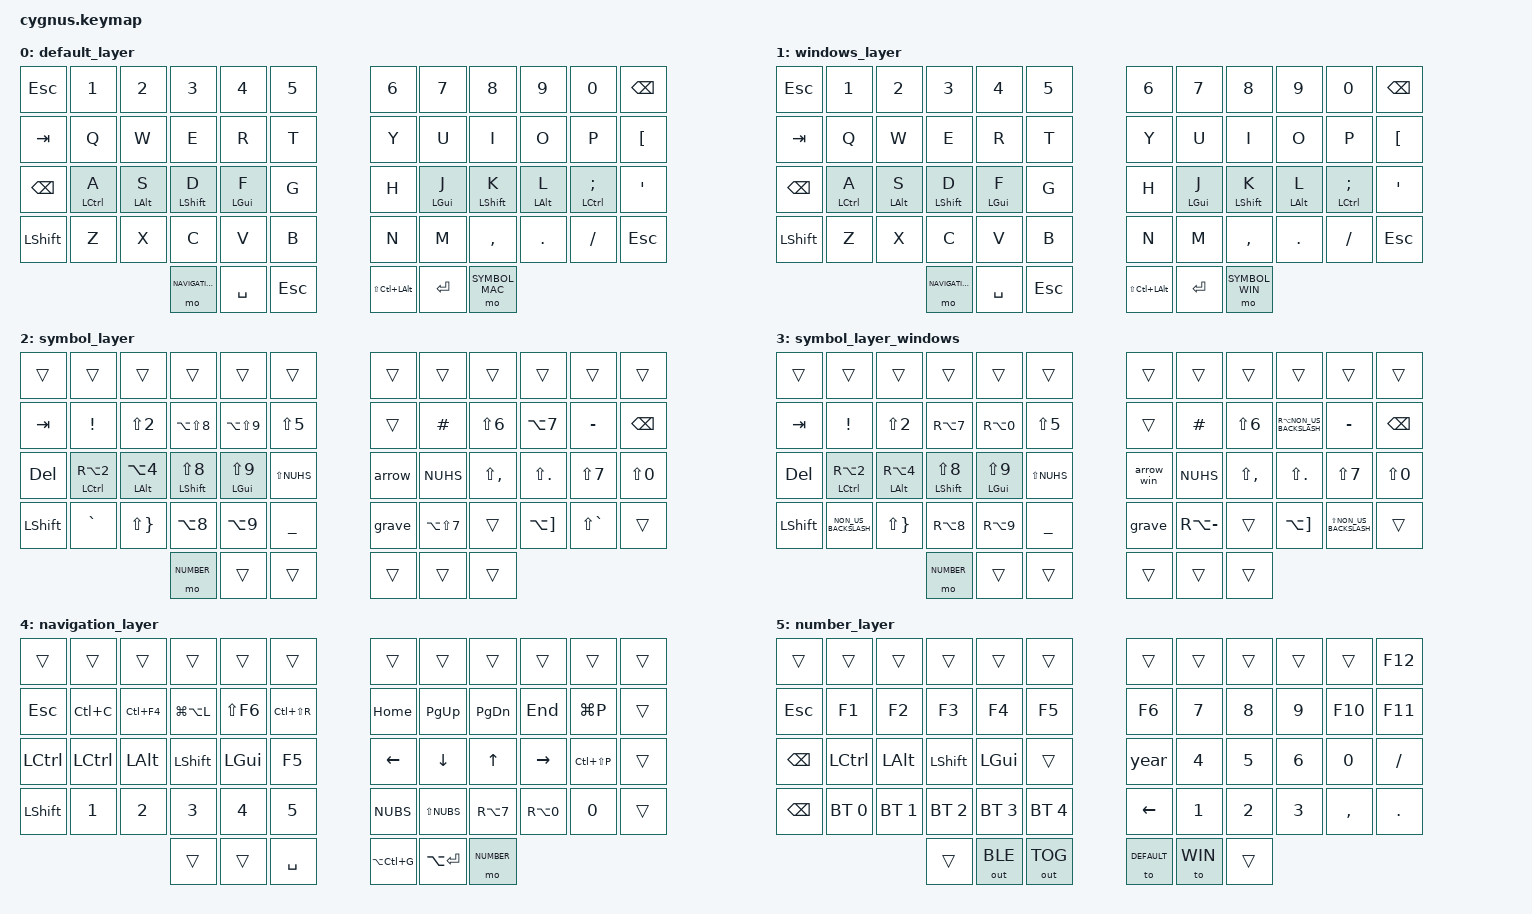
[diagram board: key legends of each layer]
#include <behaviors.dtsi>
#include <dt-bindings/zmk/keys.h>
#include <dt-bindings/zmk/bt.h>
#include <dt-bindings/zmk/outputs.h>

// Meh key
#define MEH LS(LC(LALT))
#define DEFAULT 0
#define WIN 1
#define SYMBOL_MAC 2
#define SYMBOL_WIN 3
#define NAVIGATION 4
#define NUMBER 5

/ {
        macros {
                arrow: arrow {
                compatible = "zmk,behavior-macro";
                #binding-cells = <0>;
                bindings
                        = <&macro_press &kp LSHFT>
                        , <&macro_tap &kp N0 &kp GRAVE>
                        , <&macro_release &kp LSHFT>
                        ;
                };
                arrow_win: arrow_win {
                compatible = "zmk,behavior-macro";
                #binding-cells = <0>;
                bindings
                        = <&macro_press &kp LSHFT>
                        , <&macro_tap &kp N0 &kp NON_US_BACKSLASH>
                        , <&macro_release &kp LSHFT>
                        ;
                };
                grave: grave {
                compatible = "zmk,behavior-macro";
                #binding-cells = <0>;
                bindings
                        = <&macro_tap &kp LS(EQUAL) &kp SPACE>
                        ;
                };

                year: year {
                compatible = "zmk,behavior-macro";
                #binding-cells = <0>;
                bindings
                        = <&macro_tap &kp N2 &kp N0 &kp N2 &kp N4>
                        ;
                };
        };
        behaviors {
                hm: homerow_mods {
                compatible = "zmk,behavior-hold-tap";
                #binding-cells = <2>;
                tapping-term-ms = <225>;
                quick-tap-ms = <0>;
                flavor = "tap-preferred";
                bindings = <&kp>, <&kp>;
                };
        };
        keymap {
                compatible = "zmk,keymap";

                default_layer {
// -----------------------------------------------------------------------------------------
// | ESC  |  1  |  2  |  3  |  4  |  5  |   |  6  |  7   |  8  |  9  |  0  | BSPC |
// |  TAB |  Q  |  W  |  E  |  R  |  T  |   |  Y  |  U   |  I  |  O  |  P  |  Å   |
// | BSPC |  A  |  S  |  D  |  F  |  G  |   |  H  |  J   |  K  |  L  |  Ö  |  Ä   |
// | SHFT |  Z  |  X  |  C  |  V  |  B  |   |  N  |  M   |  ,  |  .  |  -  | ESC  |
//                    | NAV | SPC | ESC |   | MEH | RET  | SYM  |
                        bindings = <
   &kp ESC    &kp N1 &kp N2 &kp N3 &kp N4 &kp N5   &kp N6 &kp N7 &kp N8    &kp N9  &kp N0   &kp BSPC
   &kp TAB    &kp Q &kp W &kp E &kp R &kp T   &kp Y &kp U  &kp I     &kp O   &kp P    &kp LBKT
   &kp BSPC   &hm LCTRL A &hm LALT S &hm LSHFT D &hm LGUI F &kp G   &kp H &hm LGUI J  &hm LSHFT K  &hm LALT L   &hm LCTRL SEMI &kp SQT
   &kp LSHFT  &kp Z &kp X &kp C &kp V &kp B   &kp N &kp M  &kp COMMA &kp DOT &kp FSLH &kp ESC
                    &mo NAVIGATION &kp SPACE &kp ESC   &kp MEH &kp RET &mo SYMBOL_MAC
                        >;
                };
                windows_layer {
// -----------------------------------------------------------------------------------------
// | ESC  |  1  |  2  |  3  |  4  |  5  |   |  6  |  7   |  8  |  9  |  0  | BSPC |
// |  TAB |  Q  |  W  |  E  |  R  |  T  |   |  Y  |  U   |  I  |  O  |  P  |  Å   |
// | BSPC |  A  |  S  |  D  |  F  |  G  |   |  H  |  J   |  K  |  L  |  Ö  |  Ä   |
// | SHFT |  Z  |  X  |  C  |  V  |  B  |   |  N  |  M   |  ,  |  .  |  -  | ESC  |
//                    | NAV | SPC | ESC |   | MEH | RET  | SYM  |
                        bindings = <
   &kp ESC    &kp N1 &kp N2 &kp N3 &kp N4 &kp N5   &kp N6 &kp N7 &kp N8    &kp N9  &kp N0   &kp BSPC
   &kp TAB    &kp Q &kp W &kp E &kp R &kp T   &kp Y &kp U  &kp I     &kp O   &kp P    &kp LBKT
   &kp BSPC   &hm LCTRL A &hm LALT S &hm LSHFT D &hm LGUI F &kp G   &kp H &hm LGUI J  &hm LSHFT K  &hm LALT L   &hm LCTRL SEMI &kp SQT
   &kp LSHFT  &kp Z &kp X &kp C &kp V &kp B   &kp N &kp M  &kp COMMA &kp DOT &kp FSLH &kp ESC
                    &mo NAVIGATION &kp SPACE &kp ESC   &kp MEH &kp RET &mo SYMBOL_WIN
                        >;
                };
                symbol_layer {
// -----------------------------------------------------------------------------------------
// |      |     |     |     |     |     |   |     |     |     |     |     |      |
// |  TAB |  !  |  "  |  {  |  }  |  %  |   |     |  #  |  &  |  |  |  +  | BSPC |
// | DEL  |  @  |  $  |  (  |  )  |  *  |   |  => |  '  |  ;  |  :  |  /  |      |
// | SHFT |  <  |  ^  |  [  |  ]  |  ?  |   |  `  |  \  |     |  ~  |  >  |      |
//                    | NUM |     |     |   |     |     |      |
                        bindings = <
   &trans     &trans           &trans           &trans               &trans            &trans             &trans   &trans         &trans     &trans       &trans    &trans
   &kp TAB    &kp EXCL         &kp LS(N2)       &kp LA(LS(N8))       &kp LA(LS(N9))    &kp LS(N5)         &trans   &kp HASH       &kp LS(N6) &kp LA(N7)    &kp MINUS &kp BSPC
   &kp DEL    &hm LCTRL RA(N2) &hm LALT LA(N4)  &hm LSHIFT LS(N8)    &hm LGUI LS(N9)   &kp LS(NUHS)       &arrow   &kp NUHS       &kp LS(COMMA) &kp LS(DOT) &kp LS(N7) &kp LS(N0)
   &kp LSHFT  &kp GRAVE        &kp LS(RBRC)     &kp LA(N8)           &kp LA(N9)        &kp UNDERSCORE     &grave   &kp LA(LS(N7)) &trans  &kp LA(RBKT) &kp LS(GRAVE)     &trans
                                                &mo NUMBER                &trans            &trans             &trans   &trans   &trans
                        >;
                };
                symbol_layer_windows {
// -----------------------------------------------------------------------------------------
// |      |     |     |     |     |     |   |     |     |     |     |     |      |
// |  TAB |  !  |  "  |  {  |  }  |  %  |   |     |  #  |  &  |  |  |  +  | BSPC |
// | DEL  |  @  |  $  |  (  |  )  |  *  |   |  => |  '  |  ;  |  :  |  /  |      |
// | SHFT |  <  |  ^  |  [  |  ]  |  ?  |   |  `  |  \  |     |  ~  |  >  |      |
//                    | NUM |     |     |   |     |     |      |
                        bindings = <
   &trans     &trans                    &trans           &trans               &trans            &trans             &trans       &trans         &trans         &trans                       &trans    &trans
   &kp TAB    &kp EXCL                  &kp LS(N2)       &kp RA(N7)       &kp RA(N0)    &kp LS(N5)         &trans   &kp HASH       &kp LS(N6) &kp RA(NON_US_BACKSLASH)    &kp MINUS &kp BSPC
   &kp DEL    &hm LCTRL RA(N2)          &hm LALT RA(N4)  &hm LSHIFT LS(N8)    &hm LGUI LS(N9)   &kp LS(NUHS)       &arrow_win   &kp NUHS       &kp LS(COMMA) &kp LS(DOT) &kp LS(N7) &kp LS(N0)
   &kp LSHFT  &kp NON_US_BACKSLASH      &kp LS(RBRC)     &kp RA(N8)           &kp RA(N9)        &kp UNDERSCORE     &grave   &kp RA(MINUS) &trans  &kp LA(RBKT) &kp LS(NON_US_BACKSLASH)     &trans
                                                &mo NUMBER                &trans            &trans             &trans   &trans   &trans
                        >;
                };
                navigation_layer {
// -----------------------------------------------------------------------------------------
// |      |     |      |           |        |            |   |      |        |       |       |          |      |
// | ESC  | C-c | C-F4 | Cmd+Alt+L | S-F6   | C-S-R      |   | HOME | PG_UP  | PG_DN | END   | Cmd+P    |      |
// | CTRL | CTRL| LALT | LSHIFT    | LGUI   | F5         |   | LEFT | DOWN   | UP    | RIGHT | C-S-P    |      |
// | SHFT |  1  |  2   |  3        |  4     |  5         |   | NUBS | S-NUBS | RA(7) | RA(0) |  0       |      |
//                     |           |        | SPC        |   | A-C-G| A-RET  | NUM   |
                        bindings = <
   &trans     &trans     &trans     &trans         &trans     &trans              &trans   &trans       &trans    &trans    &trans        &trans
   &kp  ESC   &kp LC(C)  &kp LC(F4) &kp LG(LA(L)) &kp LS(F6) &kp LC(LS(R))   &kp HOME &kp PG_UP &kp PG_DN &kp END &kp LG(P) &trans
   &kp LCTRL  &kp LCTRL  &kp LALT   &kp LSHIFT   &kp LGUI   &kp F5               &kp LEFT  &kp DOWN  &kp UP &kp RIGHT &kp LC(LS(P)) &trans
   &kp LSHFT  &kp N1      &kp N2      &kp N3     &kp N4     &kp N5               &kp NUBS    &kp LS(NUBS)    &kp RA(N7) &kp RA(N0)    &kp N0      &trans
                              &trans &trans    &kp SPACE                       &kp LA(LC(G))   &kp LA(RET)    &mo NUMBER
                        >;
                };

                number_layer {
// -----------------------------------------------------------------------------------------
// | ESC  | F1  | F2  | F3  | F4  | F5  |   | F6   | F7 | F8 | F9 | F10   | F12 |
// |      |     |     |     |     |     |   |      |  7 |  8 |  9 | F11   |     |
// | BSPC | CTRL| LALT| LSFT| LGUI|     |   | year |  4 |  5 |  6 |  0    |  /  |
// | BSPC | BT0 | BT1 | BT2 | BT3 | BT4 |   | LEFT |  1 |  2 |  3 |  ,    |  .  |
//                    |     | BLE | TOG |   | DEF  | WIN |     |
                        bindings = <
   &trans     &trans       &trans       &trans       &trans       &trans             &trans   &trans   &trans &trans    &trans   &kp F12
   &kp ESC    &kp F1       &kp F2       &kp F3       &kp F4       &kp F5         &kp F6   &kp N7   &kp N8 &kp N9    &kp F10 &kp F11
   &kp BSPC   &kp LCTRL    &kp LALT     &kp LSHIFT   &kp LGUI     &trans         &year    &kp N4   &kp N5 &kp N6    &kp N0  &kp FSLH
   &kp BSPC   &bt BT_SEL 0 &bt BT_SEL 1 &bt BT_SEL 2 &bt BT_SEL 3 &bt BT_SEL 4   &kp LEFT &kp N1   &kp N2 &kp N3    &kp COMMA &kp DOT
                             &trans     &out OUT_BLE  &out OUT_TOG                     &to DEFAULT   &to WIN    &trans
                        >;
                };
        };
};
